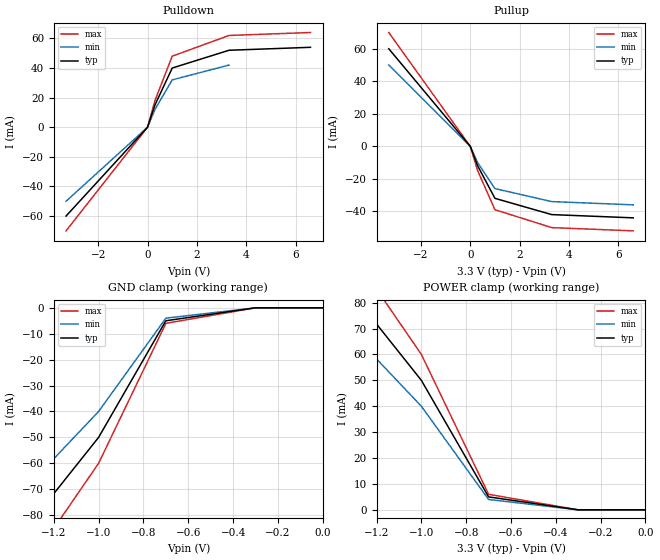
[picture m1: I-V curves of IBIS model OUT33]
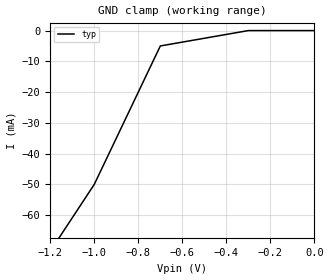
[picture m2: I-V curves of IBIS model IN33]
[IBIS Ver] 5.0
[Comment Char] #_char
[Component] CMOS33
[Package]
R_pkg 0.2 0.1 0.3
# Models and submodels in the file (2): OUT33 (I/O), IN33 (Input)
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# un commentaire, | n'en est plus un
[Model] OUT33
Model_type I/O
C_comp 3.0pF 2.5pF 3.5pF
Vinl = 0.8V
Vinh = 2.0V
[Voltage Range] 3.3V 3.0V 3.6V
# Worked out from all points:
#   slope of the pulldown table from 0 to 0.495 V, typ, clamps not added: 22.5 ohm
#   slope of the pullup table from 0 to 0.495 V, typ, clamps not added: 28.2 ohm
[Pulldown]
-3.3V     -60mA      -50mA      -70mA
0V        0A         0A         0A
300mV     15mA       12mA       18mA
1V        40mA       32mA       48mA
3.3V      52mA       42mA       62mA
6.6V      54mA       NA         64mA
[Pullup]
-3.3V     60mA       50mA       70mA
0V        0A         0A         0A
300mV     -12mA      -10mA      -15mA
1V        -32mA      -26mA      -39mA
3.3V      -42mA      -34mA      -50mA
6.6V      -44mA      -36mA      -52mA
[GND Clamp]
-3.3V     -300mA     -250mA     -350mA
-1V       -50mA      -40mA      -60mA
-700mV    -5mA       -4mA       -6mA
-300mV    0A         0A         0A
0V        0A         0A         0A
[POWER Clamp]
-3.3V     300mA      250mA      350mA
-1V       50mA       40mA       60mA
-700mV    5mA        4mA        6mA
-300mV    0A         0A         0A
0V        0A         0A         0A
[Ramp]
dV/dt_r 1.6/0.6n 1.4/0.8n 1.8/0.45n
dV/dt_f 1.6/0.5n 1.4/0.7n 1.8/0.4n
R_load = 50
[Model] IN33
Model_type Input
C_comp 4pF NA NA
[GND Clamp]
-3.3V     -300mA     NA         NA
-1V       -50mA      NA         NA
-700mV    -5mA       NA         NA
-300mV    0A         NA         NA
0V        0A         NA         NA
